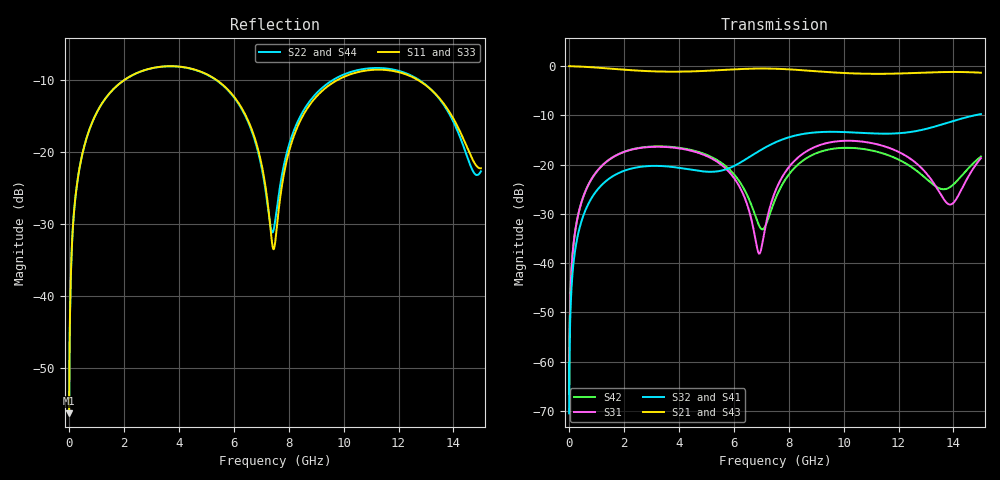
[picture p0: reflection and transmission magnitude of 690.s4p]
! Created with skrf 1.8.0 (http://scikit-rf.org).
# GHz S RI R 50.0
!freq ReS11 ImS11 ReS12 ImS12 ReS13 ImS13
! ReS14 ImS14
! ReS21 ImS21 ReS22 ImS22 ReS23 ImS23
! ReS24 ImS24
! ReS31 ImS31 ReS32 ImS32 ReS33 ImS33
! ReS34 ImS34
! ReS41 ImS41 ReS42 ImS42 ReS43 ImS43
! ReS44 ImS44
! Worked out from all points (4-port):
!   2499 points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, 5 MHz to 15 GHz, reference 50 ohm
!   strongest paths, dB at 5 MHz, 3.476 GHz, 7.19 GHz, 11.1 GHz, 15 GHz:
!     S21: 0.0, -1.1, -0.5, -1.6, -1.3
!     S43: 0.0, -1.1, -0.5, -1.6, -1.3
!     S32: -70.5, -20.3, -16.4, -13.7, -9.7
!     S41: -70.5, -20.3, -16.4, -13.6, -9.7
!     S31: -66.6, -16.4, -31.6, -15.7, -18.7
!     S42: -66.6, -16.3, -32.0, -17.2, -18.4
!   lowest |S11| = -56.3 dB at 5 MHz (marker M1), VSWR 1.00, Z = 50.1 + j0.0926 ohm
!   |S11| at or under -10 dB: start of sweep to 2.001 GHz; 5.385 GHz to 9.76 GHz (4.375 GHz wide, 57.8 % of centre); 12.72 GHz to end of sweep
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0.005  0.00121 0.000924  0.9988 -0.00236  5.92e-05 0.000464  -5.76e-05 -0.000293
       0.9988 -0.00236  0.00121 0.000924  -5.76e-05 -0.000293  5.92e-05 0.000464
       5.92e-05 0.000464  -5.76e-05 -0.000293  0.00121 0.000924  0.9988 -0.00236
       -5.76e-05 -0.000293  5.92e-05 0.000464  0.9988 -0.00236  0.00121 0.000924
0.4126719  0.0219 0.0799  0.9697 -0.1934  0.00997 0.0365  -0.00836 -0.0228
           0.9697 -0.1934  0.0219 0.0799  -0.00836 -0.0228  0.0101 0.0364
           0.00997 0.0365  -0.00836 -0.0228  0.022 0.0799  0.9697 -0.1934
           -0.00836 -0.0228  0.0101 0.0364  0.9697 -0.1934  0.0219 0.0799
2.175907  0.2813 0.1767  0.5264 -0.7453  0.1269 0.0575  -0.0897 -0.00231
          0.5264 -0.7453  0.2808 0.177  -0.0896 -0.00243  0.1289 0.0547
          0.1269 0.0575  -0.0896 -0.00243  0.2813 0.1766  0.5264 -0.7453
          -0.0897 -0.00231  0.1289 0.0547  0.5264 -0.7453  0.2807 0.1771
5.921217  0.172 -0.188  -0.6869 -0.6183  0.0483 -0.0622  -0.0428 0.0843
          -0.6869 -0.6183  0.1737 -0.1831  -0.0437 0.0835  0.0287 -0.0798
          0.0483 -0.0622  -0.0437 0.0835  0.171 -0.1877  -0.6872 -0.6184
          -0.0428 0.0843  0.0287 -0.0798  -0.6872 -0.6184  0.1735 -0.1819
7.428095  0.021 -0.00464  -0.9406 -0.0556  0.0247 0.0392  -0.00402 0.1637
          -0.9406 -0.0556  0.0277 0.00258  -0.00604 0.1637  -0.0144 0.036
          0.0247 0.0392  -0.00604 0.1637  0.0201 -0.00296  -0.9406 -0.0553
          -0.00402 0.1637  -0.0144 0.036  -0.9406 -0.0553  0.0285 0.00417
10.08545  0.3107 0.1347  -0.4217 0.7372  0.1729 -0.0245  0.2083 0.0501
          -0.4217 0.7372  0.3278 0.1269  0.207 0.0529  0.1477 0.0118
          0.1729 -0.0245  0.207 0.0529  0.3124 0.1369  -0.4216 0.7364
          0.2083 0.0501  0.1477 0.0118  -0.4216 0.7364  0.3296 0.1267
15  0.077 -0.00505  0.8546 0.0698  0.0295 0.1123  0.0152 -0.3263
    0.8546 0.0698  0.072 0.0147  0.0212 -0.325  -0.0246 0.1182
    0.0295 0.1123  0.0212 -0.325  0.0837 -0.00734  0.8543 0.0733
    0.0152 -0.3263  -0.0246 0.1182  0.8543 0.0733  0.0663 0.01
